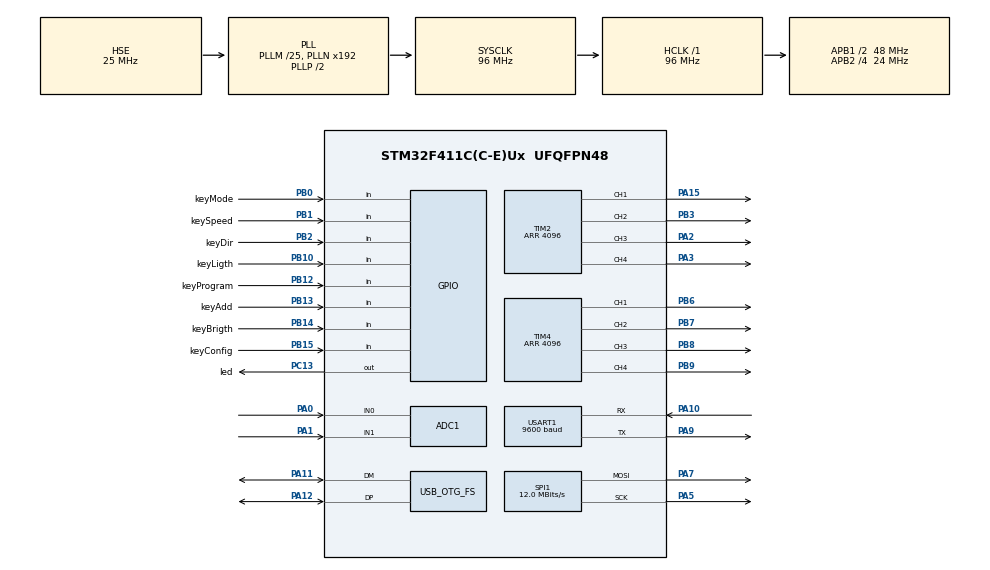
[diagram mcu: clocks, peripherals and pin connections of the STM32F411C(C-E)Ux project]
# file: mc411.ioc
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ADC1.Channel-0\#ChannelRegularConversion=ADC_CHANNEL_0
ADC1.DMAContinuousRequests=ENABLE
ADC1.EOCSelection=ADC_EOC_SEQ_CONV
ADC1.ExternalTrigConv=ADC_EXTERNALTRIGCONV_T3_TRGO
ADC1.NbrOfConversionFlag=1
ADC1.Rank-0\#ChannelRegularConversion=1
ADC1.SamplingTime-0\#ChannelRegularConversion=ADC_SAMPLETIME_3CYCLES
ADC1.master=1
Dma.ADC1.0.Direction=DMA_PERIPH_TO_MEMORY
Dma.ADC1.0.FIFOMode=DMA_FIFOMODE_DISABLE
Dma.ADC1.0.Instance=DMA2_Stream0
Dma.ADC1.0.MemDataAlignment=DMA_MDATAALIGN_HALFWORD
Dma.ADC1.0.MemInc=DMA_MINC_ENABLE
Dma.ADC1.0.Mode=DMA_NORMAL
Dma.ADC1.0.PeriphDataAlignment=DMA_PDATAALIGN_HALFWORD
Dma.ADC1.0.PeriphInc=DMA_PINC_DISABLE
Dma.ADC1.0.Priority=DMA_PRIORITY_LOW
Dma.Request0=ADC1
Dma.Request1=USART1_RX
Dma.Request2=USART1_TX
Dma.Request3=SPI1_TX
Dma.SPI1_TX.3.Direction=DMA_MEMORY_TO_PERIPH
Dma.SPI1_TX.3.FIFOMode=DMA_FIFOMODE_DISABLE
Dma.SPI1_TX.3.Instance=DMA2_Stream3
Dma.SPI1_TX.3.MemDataAlignment=DMA_MDATAALIGN_BYTE
Dma.SPI1_TX.3.MemInc=DMA_MINC_ENABLE
Dma.SPI1_TX.3.Mode=DMA_NORMAL
Dma.SPI1_TX.3.PeriphDataAlignment=DMA_PDATAALIGN_BYTE
Dma.SPI1_TX.3.PeriphInc=DMA_PINC_DISABLE
Dma.SPI1_TX.3.Priority=DMA_PRIORITY_LOW
Dma.USART1_RX.1.Direction=DMA_PERIPH_TO_MEMORY
Dma.USART1_RX.1.FIFOMode=DMA_FIFOMODE_DISABLE
Dma.USART1_RX.1.Instance=DMA2_Stream2
Dma.USART1_RX.1.MemDataAlignment=DMA_MDATAALIGN_BYTE
Dma.USART1_RX.1.MemInc=DMA_MINC_ENABLE
Dma.USART1_RX.1.Mode=DMA_NORMAL
Dma.USART1_RX.1.PeriphDataAlignment=DMA_PDATAALIGN_BYTE
Dma.USART1_RX.1.PeriphInc=DMA_PINC_DISABLE
Dma.USART1_RX.1.Priority=DMA_PRIORITY_LOW
Dma.USART1_TX.2.Direction=DMA_MEMORY_TO_PERIPH
Dma.USART1_TX.2.FIFOMode=DMA_FIFOMODE_DISABLE
Dma.USART1_TX.2.Instance=DMA2_Stream7
Dma.USART1_TX.2.MemDataAlignment=DMA_MDATAALIGN_BYTE
Dma.USART1_TX.2.MemInc=DMA_MINC_ENABLE
Dma.USART1_TX.2.Mode=DMA_NORMAL
Dma.USART1_TX.2.PeriphDataAlignment=DMA_PDATAALIGN_BYTE
Dma.USART1_TX.2.PeriphInc=DMA_PINC_DISABLE
Dma.USART1_TX.2.Priority=DMA_PRIORITY_LOW
Mcu.Family=STM32F4
Mcu.Name=STM32F411C(C-E)Ux
Mcu.Package=UFQFPN48
NVIC.DMA2_Stream0_IRQn=true\:0\:0\:false\:false\:true\:false\:true
NVIC.DMA2_Stream2_IRQn=true\:0\:0\:false\:false\:true\:false\:true
NVIC.DMA2_Stream3_IRQn=true\:0\:0\:false\:false\:true\:false\:true
NVIC.DMA2_Stream7_IRQn=true\:0\:0\:false\:false\:true\:false\:true
NVIC.OTG_FS_IRQn=true\:0\:0\:false\:false\:true\:false\:true
NVIC.PriorityGroup=NVIC_PRIORITYGROUP_4
PA0-WKUP.Signal=ADCx_IN0
PA1.Signal=ADCx_IN1
PA10.Mode=Asynchronous
PA10.Signal=USART1_RX
PA11.Mode=Device_Only
PA11.Signal=USB_OTG_FS_DM
PA12.Mode=Device_Only
PA12.Signal=USB_OTG_FS_DP
PA13.Mode=Serial_Wire
PA13.Signal=SYS_JTMS-SWDIO
PA14.Mode=Serial_Wire
PA14.Signal=SYS_JTCK-SWCLK
PA15.Signal=S_TIM2_CH1_ETR
PA2.Signal=S_TIM2_CH3
PA3.Signal=S_TIM2_CH4
PA5.Mode=TX_Only_Simplex_Unidirect_Master
PA5.Signal=SPI1_SCK
PA7.Mode=TX_Only_Simplex_Unidirect_Master
PA7.Signal=SPI1_MOSI
PA9.Mode=Asynchronous
PA9.Signal=USART1_TX
PB0.GPIO_Label=keyMode
PB0.GPIO_PuPd=GPIO_PULLUP
PB0.Signal=GPIO_Input
PB1.GPIO_Label=keySpeed
PB1.GPIO_PuPd=GPIO_PULLUP
PB1.Signal=GPIO_Input
PB10.GPIO_Label=keyLigth
PB10.GPIO_PuPd=GPIO_PULLUP
PB10.Signal=GPIO_Input
PB12.GPIO_Label=keyProgram
PB12.GPIO_PuPd=GPIO_PULLUP
PB12.Signal=GPIO_Input
PB13.GPIO_Label=keyAdd
PB13.GPIO_PuPd=GPIO_PULLUP
PB13.Signal=GPIO_Input
PB14.GPIO_Label=keyBrigth
PB14.GPIO_PuPd=GPIO_PULLUP
PB14.Signal=GPIO_Input
PB15.GPIO_Label=keyConfig
PB15.GPIO_PuPd=GPIO_PULLUP
PB15.Signal=GPIO_Input
PB2.GPIO_Label=keyDir
PB2.GPIO_PuPd=GPIO_PULLUP
PB2.Signal=GPIO_Input
PB3.Signal=S_TIM2_CH2
PB6.Signal=S_TIM4_CH1
PB7.Signal=S_TIM4_CH2
PB8.Signal=S_TIM4_CH3
PB9.Signal=S_TIM4_CH4
PC13-ANTI_TAMP.GPIO_Label=led
PC13-ANTI_TAMP.Signal=GPIO_Output
PH0\ -\ OSC_IN.Mode=HSE-External-Oscillator
PH0\ -\ OSC_IN.Signal=RCC_OSC_IN
PH1\ -\ OSC_OUT.Mode=HSE-External-Oscillator
PH1\ -\ OSC_OUT.Signal=RCC_OSC_OUT
ProjectManager.HeapSize=0x200
ProjectManager.StackSize=0x400
ProjectManager.TargetToolchain=MDK-ARM V5
RCC.48MHZClocksFreq_Value=48000000
RCC.AHBFreq_Value=96000000
RCC.APB1CLKDivider=RCC_HCLK_DIV2
RCC.APB1Freq_Value=48000000
RCC.APB1TimFreq_Value=96000000
RCC.APB2CLKDivider=RCC_HCLK_DIV4
RCC.APB2Freq_Value=24000000
RCC.APB2TimFreq_Value=48000000
RCC.CortexFreq_Value=96000000
RCC.HCLKFreq_Value=96000000
RCC.HSE_VALUE=25000000
RCC.HSI_VALUE=16000000
RCC.LSE_VALUE=32768
RCC.PLLM=25
RCC.SYSCLKFreq_VALUE=96000000
RCC.SYSCLKSource=RCC_SYSCLKSOURCE_PLLCLK
RCC.VCOOutputFreq_Value=192000000
SH.ADCx_IN0.0=ADC1_IN0,IN0
SH.ADCx_IN1.0=ADC1_IN1,IN1
SH.S_TIM2_CH1_ETR.0=TIM2_CH1,PWM Generation1 CH1
SH.S_TIM2_CH2.0=TIM2_CH2,PWM Generation2 CH2
SH.S_TIM2_CH3.0=TIM2_CH3,PWM Generation3 CH3
SH.S_TIM2_CH4.0=TIM2_CH4,PWM Generation4 CH4
SH.S_TIM4_CH1.0=TIM4_CH1,PWM Generation1 CH1
SH.S_TIM4_CH2.0=TIM4_CH2,PWM Generation2 CH2
SH.S_TIM4_CH3.0=TIM4_CH3,PWM Generation3 CH3
SH.S_TIM4_CH4.0=TIM4_CH4,PWM Generation4 CH4
SPI1.BaudRatePrescaler=SPI_BAUDRATEPRESCALER_2
SPI1.CalculateBaudRate=12.0 MBits/s
SPI1.Direction=SPI_DIRECTION_2LINES
SPI1.Mode=SPI_MODE_MASTER
SPI1.VirtualType=VM_MASTER
TIM2.Channel-PWM\ Generation1\ CH1=TIM_CHANNEL_1
TIM2.Channel-PWM\ Generation2\ CH2=TIM_CHANNEL_2
TIM2.Channel-PWM\ Generation3\ CH3=TIM_CHANNEL_3
TIM2.Channel-PWM\ Generation4\ CH4=TIM_CHANNEL_4
TIM2.Period=4096
TIM3.ClockDivision=TIM_CLOCKDIVISION_DIV1
TIM3.Period=2177
TIM3.TIM_MasterOutputTrigger=TIM_TRGO_UPDATE
TIM4.Channel-PWM\ Generation1\ CH1=TIM_CHANNEL_1
TIM4.Channel-PWM\ Generation2\ CH2=TIM_CHANNEL_2
TIM4.Channel-PWM\ Generation3\ CH3=TIM_CHANNEL_3
TIM4.Channel-PWM\ Generation4\ CH4=TIM_CHANNEL_4
TIM4.Period=4096
USART1.BaudRate=9600
USART1.VirtualMode=VM_ASYNC
USB_DEVICE.APP_RX_DATA_SIZE=1024
USB_DEVICE.APP_TX_DATA_SIZE=1024
USB_DEVICE.CLASS_NAME_FS=CDC
USB_DEVICE.VirtualMode=Cdc
USB_DEVICE.VirtualModeFS=Cdc_FS
USB_OTG_FS.VirtualMode=Device_Only
VP_TIM2_VS_ClockSourceINT.Mode=Internal
VP_TIM3_VS_ClockSourceINT.Mode=Internal
VP_TIM4_VS_ClockSourceINT.Mode=Internal
VP_USB_DEVICE_VS_USB_DEVICE_CDC_FS.Mode=CDC_FS
board=custom

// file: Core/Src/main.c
/* USER CODE BEGIN Header */
/**
  ******************************************************************************
  * @file           : main.c
  * @brief          : Main program body
  ******************************************************************************
  * @attention
  *
  * Copyright (c) 2022 STMicroelectronics.
  * All rights reserved.
  *
  * This software is licensed under terms that can be found in the LICENSE file
  * in the root directory of this software component.
  * If no LICENSE file comes with this software, it is provided AS-IS.
  *
  ******************************************************************************
  */
/* USER CODE END Header */
#include "main.h"
#include "usb_device.h"

/* USER CODE BEGIN Includes */

#include "arm_const_structs.h"
#include "arm_math.h"
#include "usbd_cdc_if.h"

/* USER CODE END Includes */

/* USER CODE BEGIN PD */
#define fftSize 1024
#define ifftFlag 0
#define doBitReverse 1

const char strLF[] = "\r\n";
const char strAT[] = "AT\r\n";
const char strOK[] = "OK\r\n";
const char chFF[] = {0xFF,0xFF};
const char chOK[] = "OK";
/* USER CODE END PD */

ADC_HandleTypeDef hadc1;
DMA_HandleTypeDef hdma_adc1;

SPI_HandleTypeDef hspi1;
DMA_HandleTypeDef hdma_spi1_tx;

TIM_HandleTypeDef htim2;
TIM_HandleTypeDef htim3;
TIM_HandleTypeDef htim4;

UART_HandleTypeDef huart1;
DMA_HandleTypeDef hdma_usart1_rx;
DMA_HandleTypeDef hdma_usart1_tx;

/* USER CODE BEGIN PV */

volatile uint16_t ADC_BUFF[fftSize];
float32_t FFTInput[fftSize*2];
static float32_t FFTResult[fftSize];
float32_t midlvl[fftSize/2];
float32_t led[fftSize/2];
float32_t midtau = 0.2;
float32_t ledtau = 0.1;
float32_t maxValue = 0;
float32_t maxtau = 0.1;

int16_t buff[fftSize/2+2];

char textOut[32];
volatile char usb_vcp_rx[24];

/* Reference index at which max energy of bin ocuurs */
uint32_t refIndex = 213, testIndex = 0;

int dataReady=0;
/* USER CODE END PV */

void SystemClock_Config(void);
static void MX_GPIO_Init(void);
static void MX_DMA_Init(void);
static void MX_ADC1_Init(void);
static void MX_SPI1_Init(void);
static void MX_USART1_UART_Init(void);
static void MX_TIM2_Init(void);
static void MX_TIM3_Init(void);
static void MX_TIM4_Init(void);

/* USER CODE BEGIN 0 */

static void rfft_run(void)
{
	static arm_rfft_fast_instance_f32 rfft;		/** Instance structure for RFFT. */

	arm_rfft_fast_init_f32(&rfft, fftSize);
	memset(FFTResult, 0, sizeof(FFTResult));

	arm_rfft_fast_f32(&rfft, FFTInput, FFTResult, ifftFlag);
}

static void cfft_run(void)
{
  arm_cfft_f32(&arm_cfft_sR_f32_len1024, FFTInput, ifftFlag, doBitReverse);		//* Process the data through the CFFT/CIFFT module
  arm_cmplx_mag_f32(FFTInput, FFTResult, fftSize);														//* Process the data through the Complex Magnitude Module for calculating the magnitude at each bin
}

void HAL_ADC_ConvCpltCallback(ADC_HandleTypeDef* hadc)
{
	if(hadc->Instance == ADC1) {
		//GPIOC->ODR |= GPIO_PIN_13;
		for(int i=0; i < fftSize; i++) {
			FFTInput[i*2]=ADC_BUFF[i];
			FFTInput[i*2+1]=0;
		}
		//GPIOC->ODR &= !GPIO_PIN_13;
		dataReady = 1;
		HAL_ADC_Start_DMA(&hadc1,(uint32_t *)ADC_BUFF,fftSize); 	// start next 1024 sample
	}
}

void print(char *text)
{
	uint8_t len=strlen(text);
	HAL_UART_Transmit_DMA(&huart1, (uint8_t*)text, len);
}

void printUSB(char *text)
{
	if (text>0) {
		uint8_t len=strlen(text);
		while (CDC_Transmit_FS((uint8_t *)text, len)!=USBD_OK);
	}
}

void blockSendUSB(int16_t *buff, uint16_t len)
{
		while (CDC_Transmit_FS((uint8_t *)buff, len)!=USBD_OK);
}

void test(int offset)
{
		for(int i=0; i < fftSize; i++) {
			FFTInput[i*2]=100*sin(2*PI*i/offset);
			FFTInput[i*2+1]=0;
		}
		dataReady = 1;
}

/* USER CODE END 0 */

int main(void)
{

  /* MCU Configuration--------------------------------------------------------*/

  /* Reset of all peripherals, Initializes the Flash interface and the Systick. */
  HAL_Init();

  /* USER CODE BEGIN Init */
  usb_vcp_rx[0]=0;
  /* USER CODE END Init */

  /* Configure the system clock */
  SystemClock_Config();

  /* Initialize all configured peripherals */
  MX_GPIO_Init();
  MX_DMA_Init();
  MX_ADC1_Init();
  MX_SPI1_Init();
  MX_USB_DEVICE_Init();
  MX_USART1_UART_Init();
  MX_TIM2_Init();
  MX_TIM3_Init();
  MX_TIM4_Init();
  /* USER CODE BEGIN 2 */

	HAL_ADC_Start_DMA(&hadc1,(uint32_t *)ADC_BUFF,fftSize); 	// start next 1024 sample

	TIM4->CCR1=2048;
	TIM4->CCR2=2048;
	TIM4->CCR3=2048;
	TIM4->CCR4=2048;
	TIM2->CCR3=2048;
	HAL_TIM_Base_Start_IT(&htim2);
	HAL_TIM_Base_Start_IT(&htim4);
	HAL_TIM_Base_Start_IT(&htim3);

  /* USER CODE END 2 */

  /* Infinite loop */
  /* USER CODE BEGIN WHILE */
	int freq=128;
	int dir=-1;
  while (1)
  {
		//test(freq);

		if (dataReady!=0) {
		  GPIOC->ODR |= GPIO_PIN_13;
			cfft_run();
			//arm_max_f32(FFTResult, fftSize/2, &maxValue, &testIndex);	// Calculates maxValue and returns corresponding BIN value
			buff[fftSize/2]=0xFFFF;

			buff[0]=0; //FFTResult[0];
			midlvl[0]=0;
			float32_t max=0;
			for(int i=1; i < fftSize/2; i++) {
				float ampl=(FFTResult[i]+FFTResult[fftSize-i]);
				if (max<ampl) max=ampl;
				midlvl[i]*=(1-midtau);
				midlvl[i]+=midtau*ampl;
				//buff[i]=ampl;
			}
			maxValue*=(1-maxtau);
			maxValue+=maxtau*max;

			for(int i=1; i < fftSize/2; i++) {
				buff[i]=256*(midlvl[i]/maxValue);
				if (buff[i]>255) buff[i]=255;
			}

			blockSendUSB(buff,(fftSize/2+1)*2);
		  GPIOC->ODR &= !GPIO_PIN_13;
			dataReady=0;
			if (freq<5) dir=1;
			if (freq>256) dir=-1;
			freq += dir;
		}

		if (usb_vcp_rx[0]!=0) {
			printUSB((char*)strOK);
			usb_vcp_rx[0]=0;
		}

    /* USER CODE END WHILE */

  }
}

void SystemClock_Config(void)
{
  RCC_OscInitTypeDef RCC_OscInitStruct = {0};
  RCC_ClkInitTypeDef RCC_ClkInitStruct = {0};

  /** Configure the main internal regulator output voltage
  */
  __HAL_RCC_PWR_CLK_ENABLE();
  __HAL_PWR_VOLTAGESCALING_CONFIG(PWR_REGULATOR_VOLTAGE_SCALE1);
  /** Initializes the RCC Oscillators according to the specified parameters
  * in the RCC_OscInitTypeDef structure.
  */
  RCC_OscInitStruct.OscillatorType = RCC_OSCILLATORTYPE_HSE;
  RCC_OscInitStruct.HSEState = RCC_HSE_ON;
  RCC_OscInitStruct.PLL.PLLState = RCC_PLL_ON;
  RCC_OscInitStruct.PLL.PLLSource = RCC_PLLSOURCE_HSE;
  RCC_OscInitStruct.PLL.PLLM = 25;
  RCC_OscInitStruct.PLL.PLLN = 192;
  RCC_OscInitStruct.PLL.PLLP = RCC_PLLP_DIV2;
  RCC_OscInitStruct.PLL.PLLQ = 4;
  if (HAL_RCC_OscConfig(&RCC_OscInitStruct) != HAL_OK)
  {
    Error_Handler();
  }
  /** Initializes the CPU, AHB and APB buses clocks
  */
  RCC_ClkInitStruct.ClockType = RCC_CLOCKTYPE_HCLK|RCC_CLOCKTYPE_SYSCLK
                              |RCC_CLOCKTYPE_PCLK1|RCC_CLOCKTYPE_PCLK2;
  RCC_ClkInitStruct.SYSCLKSource = RCC_SYSCLKSOURCE_PLLCLK;
  RCC_ClkInitStruct.AHBCLKDivider = RCC_SYSCLK_DIV1;
  RCC_ClkInitStruct.APB1CLKDivider = RCC_HCLK_DIV2;
  RCC_ClkInitStruct.APB2CLKDivider = RCC_HCLK_DIV4;

  if (HAL_RCC_ClockConfig(&RCC_ClkInitStruct, FLASH_LATENCY_3) != HAL_OK)
  {
    Error_Handler();
  }
}

static void MX_ADC1_Init(void)
{

  ADC_ChannelConfTypeDef sConfig = {0};

  /** Configure the global features of the ADC (Clock, Resolution, Data Alignment and number of conversion)
  */
  hadc1.Instance = ADC1;
  hadc1.Init.ClockPrescaler = ADC_CLOCK_SYNC_PCLK_DIV2;
  hadc1.Init.Resolution = ADC_RESOLUTION_12B;
  hadc1.Init.ScanConvMode = DISABLE;
  hadc1.Init.ContinuousConvMode = DISABLE;
  hadc1.Init.DiscontinuousConvMode = DISABLE;
  hadc1.Init.ExternalTrigConvEdge = ADC_EXTERNALTRIGCONVEDGE_RISING;
  hadc1.Init.ExternalTrigConv = ADC_EXTERNALTRIGCONV_T3_TRGO;
  hadc1.Init.DataAlign = ADC_DATAALIGN_RIGHT;
  hadc1.Init.NbrOfConversion = 1;
  hadc1.Init.DMAContinuousRequests = ENABLE;
  hadc1.Init.EOCSelection = ADC_EOC_SEQ_CONV;
  if (HAL_ADC_Init(&hadc1) != HAL_OK)
  {
    Error_Handler();
  }
  /** Configure for the selected ADC regular channel its corresponding rank in the sequencer and its sample time.
  */
  sConfig.Channel = ADC_CHANNEL_0;
  sConfig.Rank = 1;
  sConfig.SamplingTime = ADC_SAMPLETIME_3CYCLES;
  if (HAL_ADC_ConfigChannel(&hadc1, &sConfig) != HAL_OK)
  {
    Error_Handler();
  }

}

static void MX_SPI1_Init(void)
{

  /* SPI1 parameter configuration*/
  hspi1.Instance = SPI1;
  hspi1.Init.Mode = SPI_MODE_MASTER;
  hspi1.Init.Direction = SPI_DIRECTION_2LINES;
  hspi1.Init.DataSize = SPI_DATASIZE_8BIT;
  hspi1.Init.CLKPolarity = SPI_POLARITY_LOW;
  hspi1.Init.CLKPhase = SPI_PHASE_1EDGE;
  hspi1.Init.NSS = SPI_NSS_SOFT;
  hspi1.Init.BaudRatePrescaler = SPI_BAUDRATEPRESCALER_2;
  hspi1.Init.FirstBit = SPI_FIRSTBIT_MSB;
  hspi1.Init.TIMode = SPI_TIMODE_DISABLE;
  hspi1.Init.CRCCalculation = SPI_CRCCALCULATION_DISABLE;
  hspi1.Init.CRCPolynomial = 10;
  if (HAL_SPI_Init(&hspi1) != HAL_OK)
  {
    Error_Handler();
  }

}

static void MX_TIM2_Init(void)
{

  TIM_ClockConfigTypeDef sClockSourceConfig = {0};
  TIM_MasterConfigTypeDef sMasterConfig = {0};
  TIM_OC_InitTypeDef sConfigOC = {0};

  htim2.Instance = TIM2;
  htim2.Init.Prescaler = 0;
  htim2.Init.CounterMode = TIM_COUNTERMODE_UP;
  htim2.Init.Period = 4096;
  htim2.Init.ClockDivision = TIM_CLOCKDIVISION_DIV1;
  htim2.Init.AutoReloadPreload = TIM_AUTORELOAD_PRELOAD_DISABLE;
  if (HAL_TIM_Base_Init(&htim2) != HAL_OK)
  {
    Error_Handler();
  }
  sClockSourceConfig.ClockSource = TIM_CLOCKSOURCE_INTERNAL;
  if (HAL_TIM_ConfigClockSource(&htim2, &sClockSourceConfig) != HAL_OK)
  {
    Error_Handler();
  }
  if (HAL_TIM_PWM_Init(&htim2) != HAL_OK)
  {
    Error_Handler();
  }
  sMasterConfig.MasterOutputTrigger = TIM_TRGO_RESET;
  sMasterConfig.MasterSlaveMode = TIM_MASTERSLAVEMODE_DISABLE;
  if (HAL_TIMEx_MasterConfigSynchronization(&htim2, &sMasterConfig) != HAL_OK)
  {
    Error_Handler();
  }
  sConfigOC.OCMode = TIM_OCMODE_PWM1;
  sConfigOC.Pulse = 0;
  sConfigOC.OCPolarity = TIM_OCPOLARITY_HIGH;
  sConfigOC.OCFastMode = TIM_OCFAST_DISABLE;
  if (HAL_TIM_PWM_ConfigChannel(&htim2, &sConfigOC, TIM_CHANNEL_1) != HAL_OK)
  {
    Error_Handler();
  }
  if (HAL_TIM_PWM_ConfigChannel(&htim2, &sConfigOC, TIM_CHANNEL_2) != HAL_OK)
  {
    Error_Handler();
  }
  if (HAL_TIM_PWM_ConfigChannel(&htim2, &sConfigOC, TIM_CHANNEL_3) != HAL_OK)
  {
    Error_Handler();
  }
  if (HAL_TIM_PWM_ConfigChannel(&htim2, &sConfigOC, TIM_CHANNEL_4) != HAL_OK)
  {
    Error_Handler();
  }
  HAL_TIM_MspPostInit(&htim2);

}

static void MX_TIM3_Init(void)
{

  TIM_ClockConfigTypeDef sClockSourceConfig = {0};
  TIM_MasterConfigTypeDef sMasterConfig = {0};

  htim3.Instance = TIM3;
  htim3.Init.Prescaler = 0;
  htim3.Init.CounterMode = TIM_COUNTERMODE_UP;
  htim3.Init.Period = 2177;
  htim3.Init.ClockDivision = TIM_CLOCKDIVISION_DIV1;
  htim3.Init.AutoReloadPreload = TIM_AUTORELOAD_PRELOAD_DISABLE;
  if (HAL_TIM_Base_Init(&htim3) != HAL_OK)
  {
    Error_Handler();
  }
  sClockSourceConfig.ClockSource = TIM_CLOCKSOURCE_INTERNAL;
  if (HAL_TIM_ConfigClockSource(&htim3, &sClockSourceConfig) != HAL_OK)
  {
    Error_Handler();
  }
  sMasterConfig.MasterOutputTrigger = TIM_TRGO_UPDATE;
  sMasterConfig.MasterSlaveMode = TIM_MASTERSLAVEMODE_DISABLE;
  if (HAL_TIMEx_MasterConfigSynchronization(&htim3, &sMasterConfig) != HAL_OK)
  {
    Error_Handler();
  }

}

static void MX_TIM4_Init(void)
{

  TIM_ClockConfigTypeDef sClockSourceConfig = {0};
  TIM_MasterConfigTypeDef sMasterConfig = {0};
  TIM_OC_InitTypeDef sConfigOC = {0};

  htim4.Instance = TIM4;
  htim4.Init.Prescaler = 0;
  htim4.Init.CounterMode = TIM_COUNTERMODE_UP;
  htim4.Init.Period = 4096;
  htim4.Init.ClockDivision = TIM_CLOCKDIVISION_DIV1;
  htim4.Init.AutoReloadPreload = TIM_AUTORELOAD_PRELOAD_DISABLE;
  if (HAL_TIM_Base_Init(&htim4) != HAL_OK)
  {
    Error_Handler();
  }
  sClockSourceConfig.ClockSource = TIM_CLOCKSOURCE_INTERNAL;
  if (HAL_TIM_ConfigClockSource(&htim4, &sClockSourceConfig) != HAL_OK)
  {
    Error_Handler();
  }
  if (HAL_TIM_PWM_Init(&htim4) != HAL_OK)
  {
    Error_Handler();
  }
  sMasterConfig.MasterOutputTrigger = TIM_TRGO_RESET;
  sMasterConfig.MasterSlaveMode = TIM_MASTERSLAVEMODE_DISABLE;
  if (HAL_TIMEx_MasterConfigSynchronization(&htim4, &sMasterConfig) != HAL_OK)
  {
    Error_Handler();
  }
  sConfigOC.OCMode = TIM_OCMODE_PWM1;
  sConfigOC.Pulse = 0;
  sConfigOC.OCPolarity = TIM_OCPOLARITY_HIGH;
  sConfigOC.OCFastMode = TIM_OCFAST_DISABLE;
  if (HAL_TIM_PWM_ConfigChannel(&htim4, &sConfigOC, TIM_CHANNEL_1) != HAL_OK)
  {
    Error_Handler();
  }
  if (HAL_TIM_PWM_ConfigChannel(&htim4, &sConfigOC, TIM_CHANNEL_2) != HAL_OK)
  {
    Error_Handler();
  }
  if (HAL_TIM_PWM_ConfigChannel(&htim4, &sConfigOC, TIM_CHANNEL_3) != HAL_OK)
  {
    Error_Handler();
  }
  if (HAL_TIM_PWM_ConfigChannel(&htim4, &sConfigOC, TIM_CHANNEL_4) != HAL_OK)
  {
    Error_Handler();
  }
  HAL_TIM_MspPostInit(&htim4);

}

static void MX_USART1_UART_Init(void)
{

  huart1.Instance = USART1;
  huart1.Init.BaudRate = 9600;
  huart1.Init.WordLength = UART_WORDLENGTH_8B;
  huart1.Init.StopBits = UART_STOPBITS_1;
  huart1.Init.Parity = UART_PARITY_NONE;
  huart1.Init.Mode = UART_MODE_TX_RX;
  huart1.Init.HwFlowCtl = UART_HWCONTROL_NONE;
  huart1.Init.OverSampling = UART_OVERSAMPLING_16;
  if (HAL_UART_Init(&huart1) != HAL_OK)
  {
    Error_Handler();
  }

}

static void MX_DMA_Init(void)
{

  /* DMA controller clock enable */
  __HAL_RCC_DMA2_CLK_ENABLE();

  /* DMA interrupt init */
  /* DMA2_Stream0_IRQn interrupt configuration */
  HAL_NVIC_SetPriority(DMA2_Stream0_IRQn, 0, 0);
  HAL_NVIC_EnableIRQ(DMA2_Stream0_IRQn);
  /* DMA2_Stream2_IRQn interrupt configuration */
  HAL_NVIC_SetPriority(DMA2_Stream2_IRQn, 0, 0);
  HAL_NVIC_EnableIRQ(DMA2_Stream2_IRQn);
  /* DMA2_Stream3_IRQn interrupt configuration */
  HAL_NVIC_SetPriority(DMA2_Stream3_IRQn, 0, 0);
  HAL_NVIC_EnableIRQ(DMA2_Stream3_IRQn);
  /* DMA2_Stream7_IRQn interrupt configuration */
  HAL_NVIC_SetPriority(DMA2_Stream7_IRQn, 0, 0);
  HAL_NVIC_EnableIRQ(DMA2_Stream7_IRQn);

}

static void MX_GPIO_Init(void)
{
  GPIO_InitTypeDef GPIO_InitStruct = {0};

  /* GPIO Ports Clock Enable */
  __HAL_RCC_GPIOC_CLK_ENABLE();
  __HAL_RCC_GPIOH_CLK_ENABLE();
  __HAL_RCC_GPIOA_CLK_ENABLE();
  __HAL_RCC_GPIOB_CLK_ENABLE();

  /*Configure GPIO pin Output Level */
  HAL_GPIO_WritePin(led_GPIO_Port, led_Pin, GPIO_PIN_RESET);

  /*Configure GPIO pin : led_Pin */
  GPIO_InitStruct.Pin = led_Pin;
  GPIO_InitStruct.Mode = GPIO_MODE_OUTPUT_PP;
  GPIO_InitStruct.Pull = GPIO_NOPULL;
  GPIO_InitStruct.Speed = GPIO_SPEED_FREQ_LOW;
  HAL_GPIO_Init(led_GPIO_Port, &GPIO_InitStruct);

  /*Configure GPIO pins : keyMode_Pin keySpeed_Pin keyDir_Pin keyLigth_Pin
                           keyProgram_Pin keyAdd_Pin keyBrigth_Pin keyConfig_Pin */
  GPIO_InitStruct.Pin = keyMode_Pin|keySpeed_Pin|keyDir_Pin|keyLigth_Pin
                          |keyProgram_Pin|keyAdd_Pin|keyBrigth_Pin|keyConfig_Pin;
  GPIO_InitStruct.Mode = GPIO_MODE_INPUT;
  GPIO_InitStruct.Pull = GPIO_PULLUP;
  HAL_GPIO_Init(GPIOB, &GPIO_InitStruct);

}

void Error_Handler(void)
{
  __disable_irq();
  while (1)
  {
  }
}
